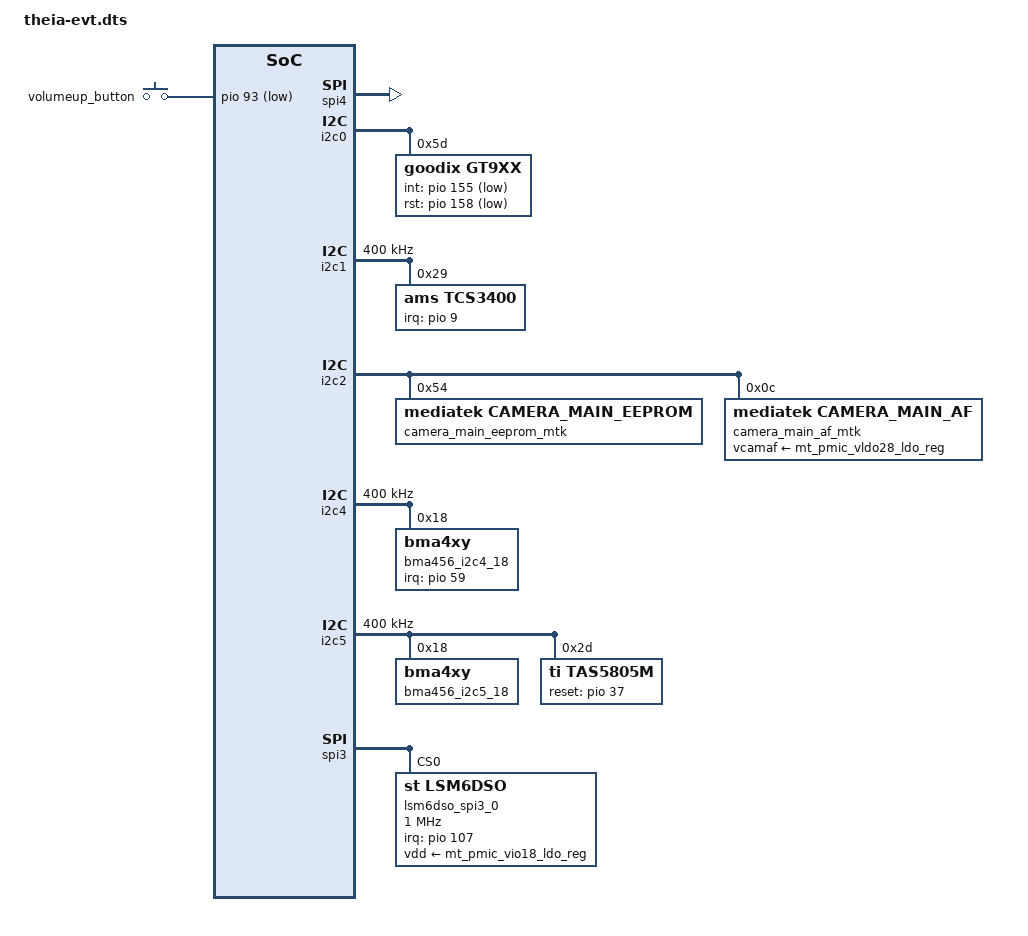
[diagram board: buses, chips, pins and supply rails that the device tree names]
/*
 * Copyright (C) 2018 MediaTek Inc.
 *
 * This program is free software; you can redistribute it and/or modify
 * it under the terms of the GNU General Public License version 2 as
 * published by the Free Software Foundation.
 *
 * This program is distributed in the hope that it will be useful,
 * but WITHOUT ANY WARRANTY; without even the implied warranty of
 * MERCHANTABILITY or FITNESS FOR A PARTICULAR PURPOSE.  See the
 * GNU General Public License for more details.  */

/*
 * Copyright (C) 2020 Amazon.com
 *
 * This program is free software: you can redistribute it and/or modify
 * it under the terms of the GNU General Public License version 2 as
 * published by the Free Software Foundation.
 *
 * This program is distributed in the hope that it will be useful,
 * but WITHOUT ANY WARRANTY; without even the implied warranty of
 * MERCHANTABILITY or FITNESS FOR A PARTICULAR PURPOSE. See the
 * GNU General Public License for more details.
 *
 */

#include "theia.dtsi"
#include <dt-bindings/clock/mt8183-clk.h>

/ {
	compatible = "amzn,theia-evt", "amzn,theia";

	aliases {
		imu_mlb = &lsm6dso_spi3_0;
		mute_led_pwm = &pwm;
	};
};

&volumeup_button {
	gpios = <&pio 93 GPIO_ACTIVE_LOW>;
};

&gpio_keys_default {
	pins_cmd_dat_low {
		pinmux = <PINMUX_GPIO92__FUNC_GPIO92>,
			<PINMUX_GPIO93__FUNC_GPIO93>;
		input-enable;
		slew-rate = <0>;
		bias-pull-up = <MTK_PUPD_SET_R1R0_11>;
	};
};

&theia_control {
	amzn,motion-power-gpio = <&pio 4 GPIO_ACTIVE_HIGH>;
};

&spi4 {
	pinctrl-names = "default";
	pinctrl-0 = <&spi_pins_4>;
	status = "okay";
};

&i2c0 {
	gt9xx@5d {
		compatible = "goodix,gt9xx";
		reg = <0x5d>;
		irq-flags = <2>;
		int-gpio = <&pio 155 GPIO_ACTIVE_LOW>;
		rst-gpio = <&pio 158 GPIO_ACTIVE_LOW>;
		touchscreen-max-id = <11>;
		touchscreen-size-x = <800>;
		touchscreen-size-y = <1280>;
		touchscreen-max-w = <512>;
		touchscreen-max-p = <512>;
		goodix,slide-wakeup = <0>;
		goodix,type-a-report = <0>;
		goodix,driver-send-cfg = <0>;
		goodix,resume-in-workqueue = <0>;
		goodix,int-sync = <1>;
		goodix,swap-x2y = <1>;
		goodix,esd-protect = <1>;
		goodix,auto-update-cfg = <1>;
		goodix,auto-update = <1>;
		goodix,power-off-sleep = <1>;
		goodix,pen-suppress-finger = <0>;
		status = "okay";
	};
};

&i2c1 {
	clock-frequency = <400000>;
	status = "okay";

	tcs3400: tcs3400@29 {
		compatible = "ams,tcs3400";
		reg = <0x29>;
		interrupt-parent = <&pio>;
		interrupts = <9 IRQ_TYPE_LEVEL_LOW 9 0>;
		als_name = "tcs3400_als";
		als_persist = <0>;
		als_gain = <3>;
		als_auto_gain = <1>;
		als_deltap = <10>;
		als_time = <4>;
		als_can_wake = <0>;
	};
};

&i2c2 {
	camera_main_eeprom_mtk: camera_main_eeprom@54 {
		compatible = "mediatek,camera_main_eeprom";
		reg = <0x54>;
		status = "okay";
	};
};

&i2c4 {
	clock-frequency = <400000>;
	status = "okay";

	/* accelerometer */
	bma456_i2c4_18: bma456@18 {
		compatible = "bma4xy";
		reg = <0x18>;
		interrupt-parent = <&pio>;
		pinctrl-names = "default";
		pinctrl-0 = <&bma456_mlb_int>;
		interrupts = <59 IRQ_TYPE_LEVEL_LOW 59 0>;
	};
};

&i2c5 {
	clock-frequency = <400000>;
	status = "okay";

	pinctrl-names = "default";
	pinctrl-0 = <&i2c_pins_5>;

	/* accelerometer */
	bma456_i2c5_18: bma456@18 {
		compatible = "bma4xy";
		reg = <0x18>;
		pinctrl-names = "default";
		pinctrl-0 = <&bma456_iob_int>;
	};

	/* TI smart AMP */
	/delete-node/ tas5805m@2c;

	/* TI smart AMP */
	tas5805m: tas5805m@2d {
		compatible = "ti,tas5805m";
		reg = <0x2d>;
		reset-gpio = <&pio 37 0>;
		status = "okay";
	};

};

&spi3 {
	pinctrl-names = "default";
	pinctrl-0 = <&spi_pins_3>;
	status = "okay";

	lsm6dso_spi3_0: lsm6dso@0 {
		spi-max-frequency = <1000000>; // 1 MHz
		compatible = "st,lsm6dso";
		reg = <0>;
		interrupt-parent = <&pio>;
		interrupts = <107 IRQ_TYPE_LEVEL_LOW 107 0>;
		vdd-supply = <&mt_pmic_vio18_ldo_reg>;
	};
};

&pio {
	spi_pins_3: spi3@0{
		pins_spi{
			pinmux = <PINMUX_GPIO21__FUNC_SPI3_MI>,
				<PINMUX_GPIO22__FUNC_SPI3_CSB>,
				<PINMUX_GPIO23__FUNC_SPI3_MO>,
				<PINMUX_GPIO24__FUNC_SPI3_CLK>;
			bias-disable;
		};
		imu_pins_default{
			pinmux = <PINMUX_GPIO107__FUNC_GPIO107>;
			input-enable;
			bias-pull-up;
		};
	};

	i2c_pins_5: i2c5@0 {
		pins_i2c {
			pinmux = <PINMUX_GPIO48__FUNC_SCL5>,
					 <PINMUX_GPIO49__FUNC_SDA5>;
			/* set pull up resistor r1 & r0 */
			bias-pull-up = <MTK_RSEL_SET_R1R0_11>;
			/* disable EH feature */
			drive-strength = <MTK_I2C_EH_DRIVE_000>;
		};
	};

	audio_pins_default: audio_default{
		pins_cmd0_dat {
			pins = <PINMUX_GPIO3__FUNC_I2S3_DO>,
				<PINMUX_GPIO5__FUNC_I2S0_BCK>,
				<PINMUX_GPIO6__FUNC_I2S0_LRCK>,
				<PINMUX_GPIO7__FUNC_I2S0_DI>,
				<PINMUX_GPIO170__FUNC_I2S1_BCK>,
				<PINMUX_GPIO171__FUNC_I2S1_LRCK>,
				<PINMUX_GPIO172__FUNC_I2S1_DO>,
				<PINMUX_GPIO173__FUNC_I2S1_MCK>,
				<PINMUX_GPIO12__FUNC_I2S2_DI2>,
				<PINMUX_GPIO98__FUNC_I2S2_BCK>,
				<PINMUX_GPIO101__FUNC_I2S2_LRCK>,
				<PINMUX_GPIO174__FUNC_I2S2_DI>;
		};
	};
};

&apuart1 {
	drive-strength = <MTK_DRIVE_6mA>;
};

&spi_pins_1 {
	pins_spi {
		drive-strength = <MTK_DRIVE_6mA>;
	};
};

&pinctrl_spi2 {
	pins_spi2_csb {
		drive-strength = <MTK_DRIVE_4mA>;
	};
	pins_spi2_clk {
		drive-strength = <MTK_DRIVE_4mA>;
	};
	pins_spi2_mosi {
		drive-strength = <MTK_DRIVE_4mA>;
	};
};

&i2c2 {
	camera_main_af_mtk:camera_main_af@0c {
		compatible = "mediatek,CAMERA_MAIN_AF";
		reg = <0x0c>;
		vcamaf-supply = <&mt_pmic_vldo28_ldo_reg>;
		status = "okay";
	};
};

&pwm {
	muteled-enable-two-point-cal;
};

&gpio_privacy {
	enable-gpio-toggle-duration = <1000>; /* assert MUTE_SET for 1 second duration */
	auto-toggle-enable-gpio-time = <50>; /* assert MUTE_SET 50ms after button release */

	/* privacy event turns into power event after 3 seconds */
	privacy-event-max-press-duration = <3000>;
};

/*End of this file, DO NOT ADD ANYTHING HERE*/
